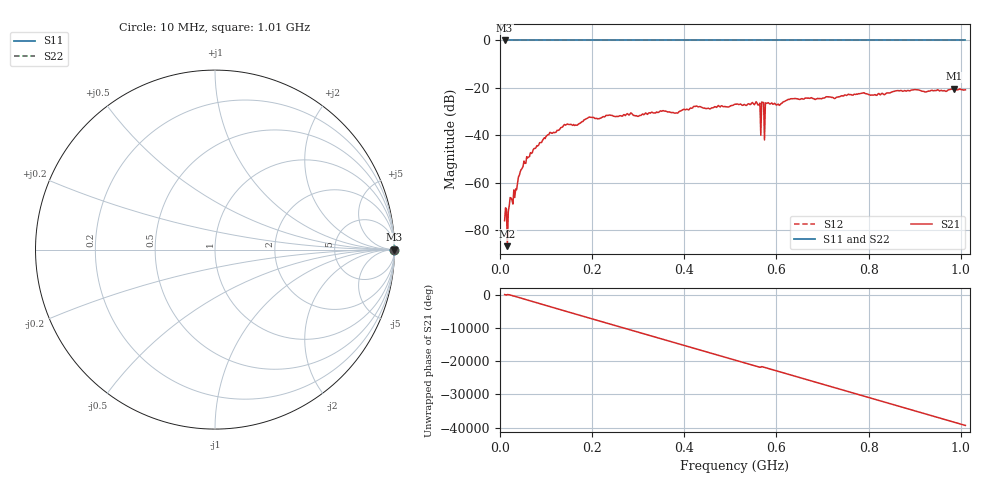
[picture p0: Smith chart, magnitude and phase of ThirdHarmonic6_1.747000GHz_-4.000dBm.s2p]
! 8/16/2025 9:03:56 PM
! C:\ANRITSUVNA\TEMP\TEMP.S2P
! CHANNEL.1
! TR.MEASUREMENT
! RAW.DATA
! RF.CORRECTION.OFF
! AVERAGING.OFF
! IF.BANDWIDTH: 5KHZ
! SWEEPTYPE:  FREQ.SWEEP(Linear)
! Reference Plane Port Info
! PORT:  PORT1  PORT2
! DISTANCE:  0  m  0  m
! TIME:  0  s  0  s
! PHASE.OFFSET:  0  deg.  0  deg.
! LOSS:  0  dB  0  dB
! REF.LOSS:  0  dB  0  dB
! REF.FREQ:  0  Hz  0  Hz
! Power Info
! POWER:  -20  dBm  -20  dBm
! EFF.POWER:  -20  dBm  -20  dBm
! SOURCE.ATTEN:  0  dB  0  dB
! TEST.ATTEN:  0  dB  0  dB
# GHZ S RI R 50.0
! FREQ.GHZ  S11RE  S11IM  S21RE  S21IM  S12RE  S12IM  S22RE  S22IM
!; PortSelection: Port_12
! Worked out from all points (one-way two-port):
!   501 points, 10 MHz to 1.01 GHz, reference 50 ohm
!   highest |S21| = -20.42 dB at 986 MHz (marker M1); lowest = -86.9 dB at 16 MHz (marker M2)
!   lowest |S11| = 0.0 dB at 10 MHz (marker M3)
!   |S11| at or under -10 dB: nowhere
!   |S22| runs from 0.0 to 0.0 dB; largest |S21 - S12| = 1.1
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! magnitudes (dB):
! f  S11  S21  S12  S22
! 10 MHz  0.0  -76.1  0.0  0.0
! 16 MHz  0.0  -86.9  0.0  0.0
! 26 MHz  0.0  -67.4  0.0  0.0
! 32 MHz  0.0  -66.3  0.0  0.0
! 48 MHz  0.0  -54.0  0.0  0.0
! 70 MHz  0.0  -47.4  0.0  0.0
! 106 MHz  0.0  -39.8  0.0  0.0
! 178 MHz  0.0  -34.3  0.0  0.0
! 196 MHz  0.0  -32.4  0.0  0.0
! 344 MHz  0.0  -30.4  0.0  0.0
! 510 MHz  0.0  -26.9  0.0  0.0
! 560 MHz  0.0  -27.3  0.0  0.0
! 562 MHz  0.0  -27.2  0.0  0.0
! 568 MHz  0.0  -26.0  0.0  0.0
! 570 MHz  0.0  -26.2  0.0  0.0
! 572 MHz  0.0  -26.2  0.0  0.0
! 578 MHz  0.0  -26.6  0.0  0.0
! 580 MHz  0.0  -26.5  0.0  0.0
! 678 MHz  0.0  -24.4  0.0  0.0
! 844 MHz  0.0  -22.2  0.0  0.0
! 986 MHz  0.0  -20.4  0.0  0.0
! 1.01 GHz  0.0  -20.9  0.0  0.0
